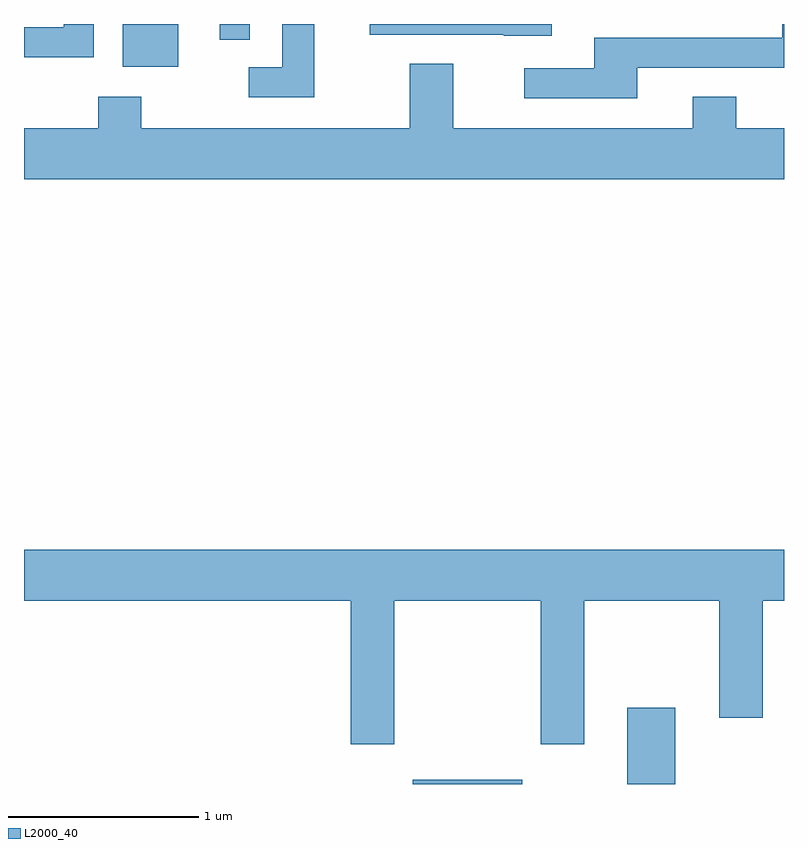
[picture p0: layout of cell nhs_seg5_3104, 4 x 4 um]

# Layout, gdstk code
import gdstk
lib = gdstk.Library(unit=1e-6, precision=1e-09)
def R(c, l, rs):  # rectangles x0, y0, x1, y1
    for r in rs: c.add(gdstk.rectangle(r[:2], r[2:], *l))
def P(c, l, *ps):  # polygons
    for p in ps: c.add(gdstk.Polygon(p, *l))
L2000_40 = (2000, 40)

nhs_seg5_3104 = lib.new_cell('nhs_seg5_3104')
R(nhs_seg5_3104, L2000_40, [(279.656,1438.072,280.234,1438.094), (280.786,1438.072,281.039,1438.474), (278.131,1441.846,278.424,1442.072), (278.641,1441.988,278.799,1442.072)])
P(nhs_seg5_3104, L2000_40, [(279.139,1442.072),(278.971,1442.072),(278.971,1441.844),(278.793,1441.844),(278.793,1441.686),(279.139,1441.686)],
  [(280.389,1442.072),(279.431,1442.072),(279.431,1442.016),(280.135,1442.016),(280.135,1442.011),(280.389,1442.011)],
  [(277.979,1442.072),(277.821,1442.072),(277.821,1442.054),(277.611,1442.054),(277.611,1441.896),(277.979,1441.896)],
  [(280.839,1441.841),(281.611,1441.841),(281.611,1442.072),(281.601,1442.072),(281.601,1441.999),(280.611,1441.999),(280.611,1441.839),(280.243,1441.839),(280.243,1441.681),(280.839,1441.681)],
  [(281.611,1441.524),(281.359,1441.524),(281.359,1441.689),(281.131,1441.689),(281.131,1441.524),(279.869,1441.524),(279.869,1441.864),(279.641,1441.864),(279.641,1441.524),(278.229,1441.524),(278.229,1441.689),(278.001,1441.689),(278.001,1441.524),(277.611,1441.524),(277.611,1441.256),(281.611,1441.256)],
  [(279.559,1439.036),(280.331,1439.036),(280.331,1438.281),(280.559,1438.281),(280.559,1439.036),(281.271,1439.036),(281.271,1438.421),(281.499,1438.421),(281.499,1439.036),(281.611,1439.036),(281.611,1439.304),(277.611,1439.304),(277.611,1439.036),(279.331,1439.036),(279.331,1438.281),(279.559,1438.281)])

lib.write_gds('nhs_seg5_3104.gds')
